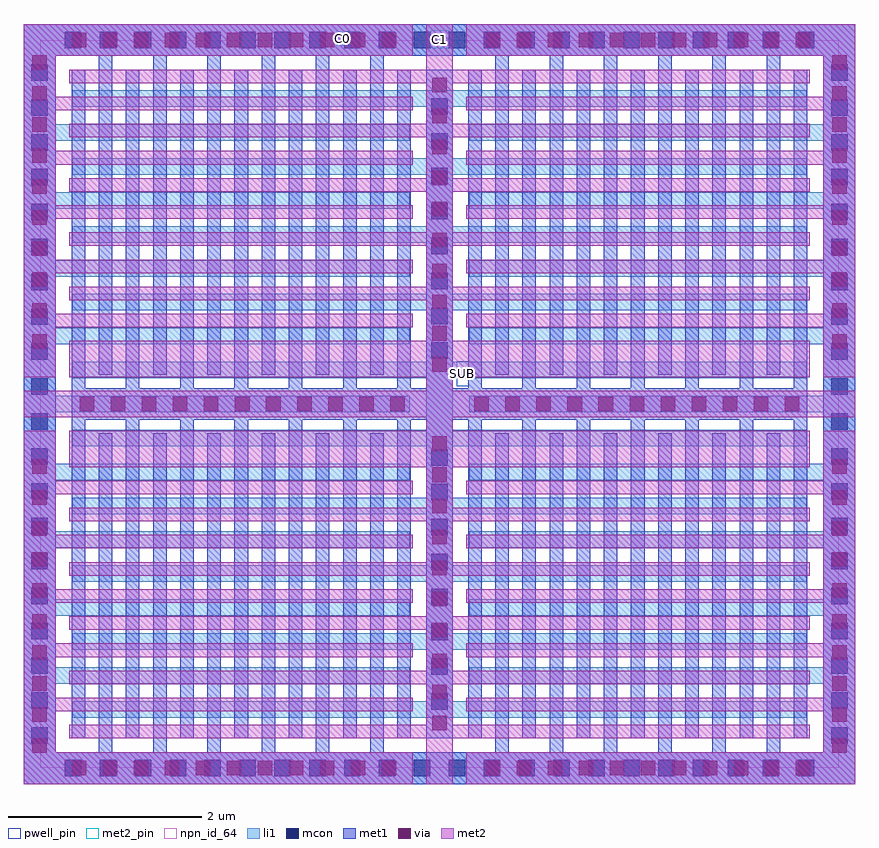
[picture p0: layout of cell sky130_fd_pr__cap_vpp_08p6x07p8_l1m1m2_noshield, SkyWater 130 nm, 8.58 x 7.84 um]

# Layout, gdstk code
import gdstk
lib = gdstk.Library(unit=1e-6, precision=1e-09)
def R(c, l, rs):  # rectangles x0, y0, x1, y1
    for r in rs: c.add(gdstk.rectangle(r[:2], r[2:], *l))
def A(c, l, x, y, w, h, nx, ny, dx, dy):  # array of equal rectangles
    R(c, l, [(x+i*dx, y+j*dy, x+i*dx+w, y+j*dy+h) for i in range(nx) for j in range(ny)])
def P(c, l, *ps):  # polygons
    for p in ps: c.add(gdstk.Polygon(p, *l))
li1 = (67, 20)
mcon = (67, 44)
met1 = (68, 20)
via = (68, 44)
met2_pin = (69, 16)
met2 = (69, 20)
npn_id_64 = (82, 64)
pwell_pin = (122, 16)

sky130_fd_pr__cap_vpp_08 = lib.new_cell('sky130_fd_pr__cap_vpp_08p6x07p8_l1m1m2_noshield')
P(sky130_fd_pr__cap_vpp_08, li1, [(8.08,0.855),(4.425,0.855),(4.425,1.385),(8.08,1.385),(8.08,1.555),(4.425,1.555),(4.425,2.085),(8.08,2.085),(8.08,2.255),(4.425,2.255),(4.425,2.785),(8.08,2.785),(8.08,2.955),(4.425,2.955),(4.425,3.485),(8.08,3.485),(8.08,3.655),(4.425,3.655),(4.425,4.185),(8.08,4.185),(8.08,4.355),(4.425,4.355),(4.425,4.885),(8.08,4.885),(8.08,5.055),(4.425,5.055),(4.425,5.585),(8.08,5.585),(8.08,5.755),(4.425,5.755),(4.425,6.285),(8.08,6.285),(8.08,6.455),(4.425,6.455),(4.425,6.985),(8.08,6.985),(8.08,7.155),(0.5,7.155),(0.5,6.985),(4.155,6.985),(4.155,6.455),(0.5,6.455),(0.5,6.285),(4.155,6.285),(4.155,5.755),(0.5,5.755),(0.5,5.585),(4.155,5.585),(4.155,5.055),(0.5,5.055),(0.5,4.885),(4.155,4.885),(4.155,4.355),(0.5,4.355),(0.5,4.185),(4.155,4.185),(4.155,3.655),(0.5,3.655),(0.5,3.485),(4.155,3.485),(4.155,2.955),(0.5,2.955),(0.5,2.785),(4.155,2.785),(4.155,2.255),(0.5,2.255),(0.5,2.085),(4.155,2.085),(4.155,1.555),(0.5,1.555),(0.5,1.385),(4.155,1.385),(4.155,0.855),(0.5,0.855),(0.5,0.685),(8.08,0.685)],
  [(8.58,7.84),(8.25,7.84),(8.25,6.805),(4.595,6.805),(4.595,6.635),(8.25,6.635),(8.25,6.105),(4.595,6.105),(4.595,5.935),(8.25,5.935),(8.25,5.405),(4.595,5.405),(4.595,5.235),(8.25,5.235),(8.25,4.705),(4.595,4.705),(4.595,4.535),(8.25,4.535),(8.25,4.005),(4.595,4.005),(4.595,3.835),(8.25,3.835),(8.25,3.305),(4.595,3.305),(4.595,3.135),(8.25,3.135),(8.25,2.605),(4.595,2.605),(4.595,2.435),(8.25,2.435),(8.25,1.905),(4.595,1.905),(4.595,1.735),(8.25,1.735),(8.25,1.205),(4.595,1.205),(4.595,1.035),(8.25,1.035),(8.25,0.33),(0.33,0.33),(0.33,1.035),(3.985,1.035),(3.985,1.205),(0.33,1.205),(0.33,1.735),(3.985,1.735),(3.985,1.905),(0.33,1.905),(0.33,2.435),(3.985,2.435),(3.985,2.605),(0.33,2.605),(0.33,3.135),(3.985,3.135),(3.985,3.305),(0.33,3.305),(0.33,3.835),(3.985,3.835),(3.985,4.005),(0.33,4.005),(0.33,4.535),(3.985,4.535),(3.985,4.705),(0.33,4.705),(0.33,5.235),(3.985,5.235),(3.985,5.405),(0.33,5.405),(0.33,5.935),(3.985,5.935),(3.985,6.105),(0.33,6.105),(0.33,6.635),(3.985,6.635),(3.985,6.805),(0.33,6.805),(0.33,7.51),(8.25,7.51),(8.25,7.84),(0,7.84),(0,0),(8.58,0)])
A(sky130_fd_pr__cap_vpp_08, mcon, 0.425, 0.08, 0.17, 0.17, 22, 2, 0.36, 7.51)
A(sky130_fd_pr__cap_vpp_08, mcon, 0.08, 0.415, 0.17, 0.17, 1, 20, 0, 0.36)
A(sky130_fd_pr__cap_vpp_08, mcon, 8.33, 0.415, 0.17, 0.17, 1, 20, 0, 0.36)
A(sky130_fd_pr__cap_vpp_08, mcon, 4.205, 0.765, 0.17, 0.17, 1, 8, 0, 0.36)
A(sky130_fd_pr__cap_vpp_08, mcon, 4.205, 4.385, 0.17, 0.17, 1, 8, 0, 0.36)
P(sky130_fd_pr__cap_vpp_08, met1, [(8.085,7.37),(7.945,7.37),(7.945,4.08),(7.525,4.08),(7.525,7.37),(7.385,7.37),(7.385,4.08),(6.965,4.08),(6.965,7.37),(6.825,7.37),(6.825,4.08),(6.405,4.08),(6.405,7.37),(6.265,7.37),(6.265,4.08),(5.845,4.08),(5.845,7.37),(5.705,7.37),(5.705,4.08),(5.285,4.08),(5.285,7.37),(5.145,7.37),(5.145,4.08),(4.725,4.08),(4.725,7.37),(4.585,7.37),(4.585,4.08),(4.425,4.08),(4.425,7.37),(4.155,7.37),(4.155,4.08),(3.995,4.08),(3.995,7.37),(3.855,7.37),(3.855,4.08),(3.435,4.08),(3.435,7.37),(3.295,7.37),(3.295,4.08),(2.875,4.08),(2.875,7.37),(2.735,7.37),(2.735,4.08),(2.315,4.08),(2.315,7.37),(2.175,7.37),(2.175,4.08),(1.755,4.08),(1.755,7.37),(1.615,7.37),(1.615,4.08),(1.195,4.08),(1.195,7.37),(1.055,7.37),(1.055,4.08),(0.635,4.08),(0.635,7.37),(0.495,7.37),(0.495,0.47),(0.635,0.47),(0.635,3.76),(1.055,3.76),(1.055,0.47),(1.195,0.47),(1.195,3.76),(1.615,3.76),(1.615,0.47),(1.755,0.47),(1.755,3.76),(2.175,3.76),(2.175,0.47),(2.315,0.47),(2.315,3.76),(2.735,3.76),(2.735,0.47),(2.875,0.47),(2.875,3.76),(3.295,3.76),(3.295,0.47),(3.435,0.47),(3.435,3.76),(3.855,3.76),(3.855,0.47),(3.995,0.47),(3.995,3.76),(4.155,3.76),(4.155,0.47),(4.425,0.47),(4.425,3.76),(4.585,3.76),(4.585,0.47),(4.725,0.47),(4.725,3.76),(5.145,3.76),(5.145,0.47),(5.285,0.47),(5.285,3.76),(5.705,3.76),(5.705,0.47),(5.845,0.47),(5.845,3.76),(6.265,3.76),(6.265,0.47),(6.405,0.47),(6.405,3.76),(6.825,3.76),(6.825,0.47),(6.965,0.47),(6.965,3.76),(7.385,3.76),(7.385,0.47),(7.525,0.47),(7.525,3.76),(7.945,3.76),(7.945,0.47),(8.085,0.47)],
  [(8.58,7.84),(8.25,7.84),(8.25,0.33),(7.805,0.33),(7.805,3.62),(7.665,3.62),(7.665,0.33),(7.245,0.33),(7.245,3.62),(7.105,3.62),(7.105,0.33),(6.685,0.33),(6.685,3.62),(6.545,3.62),(6.545,0.33),(6.125,0.33),(6.125,3.62),(5.985,3.62),(5.985,0.33),(5.565,0.33),(5.565,3.62),(5.425,3.62),(5.425,0.33),(5.005,0.33),(5.005,3.62),(4.865,3.62),(4.865,0.33),(3.715,0.33),(3.715,3.62),(3.575,3.62),(3.575,0.33),(3.155,0.33),(3.155,3.62),(3.015,3.62),(3.015,0.33),(2.595,0.33),(2.595,3.62),(2.455,3.62),(2.455,0.33),(2.035,0.33),(2.035,3.62),(1.895,3.62),(1.895,0.33),(1.475,0.33),(1.475,3.62),(1.335,3.62),(1.335,0.33),(0.915,0.33),(0.915,3.62),(0.775,3.62),(0.775,0.33),(0.33,0.33),(0.33,7.51),(0.775,7.51),(0.775,4.22),(0.915,4.22),(0.915,7.51),(1.335,7.51),(1.335,4.22),(1.475,4.22),(1.475,7.51),(1.895,7.51),(1.895,4.22),(2.035,4.22),(2.035,7.51),(2.455,7.51),(2.455,4.22),(2.595,4.22),(2.595,7.51),(3.015,7.51),(3.015,4.22),(3.155,4.22),(3.155,7.51),(3.575,7.51),(3.575,4.22),(3.715,4.22),(3.715,7.51),(4.865,7.51),(4.865,4.22),(5.005,4.22),(5.005,7.51),(5.425,7.51),(5.425,4.22),(5.565,4.22),(5.565,7.51),(5.985,7.51),(5.985,4.22),(6.125,4.22),(6.125,7.51),(6.545,7.51),(6.545,4.22),(6.685,4.22),(6.685,7.51),(7.105,7.51),(7.105,4.22),(7.245,4.22),(7.245,7.51),(7.665,7.51),(7.665,4.22),(7.805,4.22),(7.805,7.51),(8.25,7.51),(8.25,7.84),(0,7.84),(0,0),(8.58,0)])
A(sky130_fd_pr__cap_vpp_08, via, 0.09, 0.32, 0.15, 0.15, 1, 10, 0, 0.32)
A(sky130_fd_pr__cap_vpp_08, via, 8.34, 0.32, 0.15, 0.15, 1, 10, 0, 0.32)
A(sky130_fd_pr__cap_vpp_08, via, 4.215, 0.555, 0.15, 0.15, 1, 10, 0, 0.32)
A(sky130_fd_pr__cap_vpp_08, via, 0.58, 3.845, 0.15, 0.15, 11, 1, 0.32, 0)
A(sky130_fd_pr__cap_vpp_08, via, 4.65, 3.845, 0.15, 0.15, 11, 1, 0.32, 0)
A(sky130_fd_pr__cap_vpp_08, via, 4.215, 4.255, 0.15, 0.15, 1, 10, 0, 0.32)
A(sky130_fd_pr__cap_vpp_08, via, 0.09, 4.49, 0.15, 0.15, 1, 10, 0, 0.32)
A(sky130_fd_pr__cap_vpp_08, via, 8.34, 4.49, 0.15, 0.15, 1, 10, 0, 0.32)
R(sky130_fd_pr__cap_vpp_08, via, [(0.495,0.09,0.645,0.24), (0.495,0.09,0.645,0.24), (0.815,0.09,0.965,0.24), (0.815,0.09,0.965,0.24), (1.135,0.09,1.285,0.24), (1.135,0.09,1.285,0.24), (1.455,0.09,1.605,0.24), (1.455,0.09,1.605,0.24), (1.775,0.09,1.925,0.24), (1.775,0.09,1.925,0.24), (2.095,0.09,2.245,0.24), (2.095,0.09,2.245,0.24), (2.415,0.09,2.565,0.24), (2.415,0.09,2.565,0.24), (2.735,0.09,2.885,0.24), (2.735,0.09,2.885,0.24), (3.055,0.09,3.205,0.24), (3.055,0.09,3.205,0.24), (3.375,0.09,3.525,0.24), (3.375,0.09,3.525,0.24), (3.695,0.09,3.845,0.24), (3.695,0.09,3.845,0.24), (4.765,0.09,4.915,0.24), (4.765,0.09,4.915,0.24), (5.085,0.09,5.235,0.24), (5.085,0.09,5.235,0.24), (5.405,0.09,5.555,0.24), (5.405,0.09,5.555,0.24), (5.725,0.09,5.875,0.24), (5.725,0.09,5.875,0.24), (6.045,0.09,6.195,0.24), (6.045,0.09,6.195,0.24), (6.365,0.09,6.515,0.24), (6.365,0.09,6.515,0.24), (6.685,0.09,6.835,0.24), (6.685,0.09,6.835,0.24), (7.005,0.09,7.155,0.24), (7.005,0.09,7.155,0.24), (7.325,0.09,7.475,0.24), (7.325,0.09,7.475,0.24), (7.645,0.09,7.795,0.24), (7.645,0.09,7.795,0.24), (7.965,0.09,8.115,0.24), (7.965,0.09,8.115,0.24), (0.495,7.6,0.645,7.75), (0.495,7.6,0.645,7.75), (0.815,7.6,0.965,7.75), (0.815,7.6,0.965,7.75), (1.135,7.6,1.285,7.75), (1.135,7.6,1.285,7.75), (1.455,7.6,1.605,7.75), (1.455,7.6,1.605,7.75), (1.775,7.6,1.925,7.75), (1.775,7.6,1.925,7.75), (2.095,7.6,2.245,7.75), (2.095,7.6,2.245,7.75), (2.415,7.6,2.565,7.75), (2.415,7.6,2.565,7.75), (2.735,7.6,2.885,7.75), (2.735,7.6,2.885,7.75), (3.055,7.6,3.205,7.75), (3.055,7.6,3.205,7.75), (3.375,7.6,3.525,7.75), (3.375,7.6,3.525,7.75), (3.695,7.6,3.845,7.75), (3.695,7.6,3.845,7.75), (4.765,7.6,4.915,7.75), (4.765,7.6,4.915,7.75), (5.085,7.6,5.235,7.75), (5.085,7.6,5.235,7.75), (5.405,7.6,5.555,7.75), (5.405,7.6,5.555,7.75), (5.725,7.6,5.875,7.75), (5.725,7.6,5.875,7.75), (6.045,7.6,6.195,7.75), (6.045,7.6,6.195,7.75), (6.365,7.6,6.515,7.75), (6.365,7.6,6.515,7.75), (6.685,7.6,6.835,7.75), (6.685,7.6,6.835,7.75), (7.005,7.6,7.155,7.75), (7.005,7.6,7.155,7.75), (7.325,7.6,7.475,7.75), (7.325,7.6,7.475,7.75), (7.645,7.6,7.795,7.75), (7.645,7.6,7.795,7.75), (7.965,7.6,8.115,7.75), (7.965,7.6,8.115,7.75)])
R(sky130_fd_pr__cap_vpp_08, met2_pin, [(4.2,7.59,4.39,7.775), (3.225,7.615,3.355,7.765)])
P(sky130_fd_pr__cap_vpp_08, met2, [(8.58,4.055),(4.425,4.055),(4.425,4.195),(8.11,4.195),(8.11,4.57),(4.425,4.57),(4.425,4.99),(8.11,4.99),(8.11,5.13),(4.425,5.13),(4.425,5.55),(8.11,5.55),(8.11,5.69),(4.425,5.69),(4.425,6.11),(8.11,6.11),(8.11,6.25),(4.425,6.25),(4.425,6.67),(8.11,6.67),(8.11,6.81),(4.425,6.81),(4.425,7.23),(8.11,7.23),(8.11,7.37),(4.425,7.37),(4.425,7.84),(4.155,7.84),(4.155,7.37),(0.47,7.37),(0.47,7.23),(4.155,7.23),(4.155,6.81),(0.47,6.81),(0.47,6.67),(4.155,6.67),(4.155,6.25),(0.47,6.25),(0.47,6.11),(4.155,6.11),(4.155,5.69),(0.47,5.69),(0.47,5.55),(4.155,5.55),(4.155,5.13),(0.47,5.13),(0.47,4.99),(4.155,4.99),(4.155,4.57),(0.47,4.57),(0.47,4.195),(4.155,4.195),(4.155,4.055),(0,4.055),(0,3.785),(4.155,3.785),(4.155,3.645),(0.47,3.645),(0.47,3.27),(4.155,3.27),(4.155,2.85),(0.47,2.85),(0.47,2.71),(4.155,2.71),(4.155,2.29),(0.47,2.29),(0.47,2.15),(4.155,2.15),(4.155,1.73),(0.47,1.73),(0.47,1.59),(4.155,1.59),(4.155,1.17),(0.47,1.17),(0.47,1.03),(4.155,1.03),(4.155,0.61),(0.47,0.61),(0.47,0.47),(4.155,0.47),(4.155,0),(4.425,0),(4.425,0.47),(8.11,0.47),(8.11,0.61),(4.425,0.61),(4.425,1.03),(8.11,1.03),(8.11,1.17),(4.425,1.17),(4.425,1.59),(8.11,1.59),(8.11,1.73),(4.425,1.73),(4.425,2.15),(8.11,2.15),(8.11,2.29),(4.425,2.29),(4.425,2.71),(8.11,2.71),(8.11,2.85),(4.425,2.85),(4.425,3.27),(8.11,3.27),(8.11,3.645),(4.425,3.645),(4.425,3.785),(8.58,3.785)],
  [(8.58,3.645),(8.25,3.645),(8.25,3.13),(4.565,3.13),(4.565,2.99),(8.25,2.99),(8.25,2.57),(4.565,2.57),(4.565,2.43),(8.25,2.43),(8.25,2.01),(4.565,2.01),(4.565,1.87),(8.25,1.87),(8.25,1.45),(4.565,1.45),(4.565,1.31),(8.25,1.31),(8.25,0.89),(4.565,0.89),(4.565,0.75),(8.25,0.75),(8.25,0.33),(4.565,0.33),(4.565,0),(8.58,0)],
  [(4.015,4.85),(0.33,4.85),(0.33,5.27),(4.015,5.27),(4.015,5.41),(0.33,5.41),(0.33,5.83),(4.015,5.83),(4.015,5.97),(0.33,5.97),(0.33,6.39),(4.015,6.39),(4.015,6.53),(0.33,6.53),(0.33,6.95),(4.015,6.95),(4.015,7.09),(0.33,7.09),(0.33,7.51),(4.015,7.51),(4.015,7.84),(0,7.84),(0,4.195),(0.33,4.195),(0.33,4.71),(4.015,4.71)],
  [(8.58,7.84),(4.565,7.84),(4.565,7.51),(8.25,7.51),(8.25,7.09),(4.565,7.09),(4.565,6.95),(8.25,6.95),(8.25,6.53),(4.565,6.53),(4.565,6.39),(8.25,6.39),(8.25,5.97),(4.565,5.97),(4.565,5.83),(8.25,5.83),(8.25,5.41),(4.565,5.41),(4.565,5.27),(8.25,5.27),(8.25,4.85),(4.565,4.85),(4.565,4.71),(8.25,4.71),(8.25,4.195),(8.58,4.195)],
  [(4.015,0.33),(0.33,0.33),(0.33,0.75),(4.015,0.75),(4.015,0.89),(0.33,0.89),(0.33,1.31),(4.015,1.31),(4.015,1.45),(0.33,1.45),(0.33,1.87),(4.015,1.87),(4.015,2.01),(0.33,2.01),(0.33,2.43),(4.015,2.43),(4.015,2.57),(0.33,2.57),(0.33,2.99),(4.015,2.99),(4.015,3.13),(0.33,3.13),(0.33,3.645),(0,3.645),(0,0),(4.015,0)])
R(sky130_fd_pr__cap_vpp_08, npn_id_64, [(0.17,0.17,8.41,7.67)])
R(sky130_fd_pr__cap_vpp_08, pwell_pin, [(4.47,4.105,4.59,4.36)])
sky130_fd_pr__cap_vpp_08.add(gdstk.Label('SUB', (4.53,4.23), layer=64, texttype=59))
sky130_fd_pr__cap_vpp_08.add(gdstk.Label('C1', (4.295,7.68), layer=69, texttype=5))
sky130_fd_pr__cap_vpp_08.add(gdstk.Label('C0', (3.29,7.69), layer=69, texttype=5))

lib.write_gds('sky130_fd_pr__cap_vpp_08p6x07p8_l1m1m2_noshield.gds')
